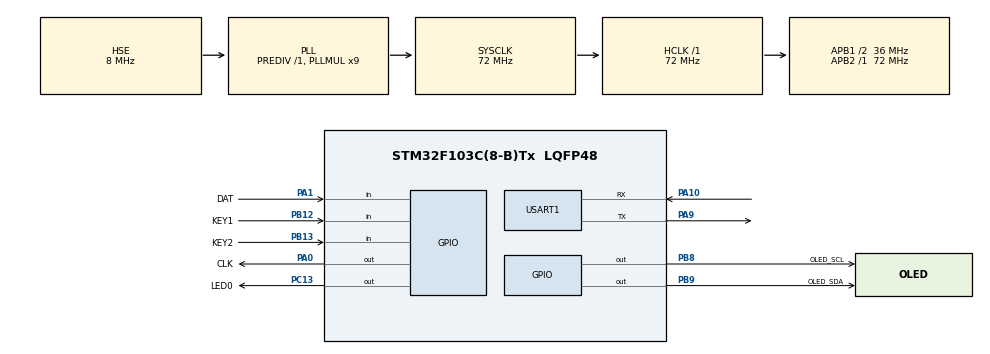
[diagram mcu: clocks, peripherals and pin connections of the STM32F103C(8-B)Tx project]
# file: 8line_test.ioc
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Dma.Request0=USART1_RX
Dma.Request1=USART1_TX
Dma.USART1_RX.0.Direction=DMA_PERIPH_TO_MEMORY
Dma.USART1_RX.0.Instance=DMA1_Channel5
Dma.USART1_RX.0.MemDataAlignment=DMA_MDATAALIGN_BYTE
Dma.USART1_RX.0.MemInc=DMA_MINC_ENABLE
Dma.USART1_RX.0.Mode=DMA_NORMAL
Dma.USART1_RX.0.PeriphDataAlignment=DMA_PDATAALIGN_BYTE
Dma.USART1_RX.0.PeriphInc=DMA_PINC_DISABLE
Dma.USART1_RX.0.Priority=DMA_PRIORITY_LOW
Dma.USART1_TX.1.Direction=DMA_MEMORY_TO_PERIPH
Dma.USART1_TX.1.Instance=DMA1_Channel4
Dma.USART1_TX.1.MemDataAlignment=DMA_MDATAALIGN_BYTE
Dma.USART1_TX.1.MemInc=DMA_MINC_ENABLE
Dma.USART1_TX.1.Mode=DMA_NORMAL
Dma.USART1_TX.1.PeriphDataAlignment=DMA_PDATAALIGN_BYTE
Dma.USART1_TX.1.PeriphInc=DMA_PINC_DISABLE
Dma.USART1_TX.1.Priority=DMA_PRIORITY_LOW
Mcu.Family=STM32F1
Mcu.Name=STM32F103C(8-B)Tx
Mcu.Package=LQFP48
NVIC.DMA1_Channel4_IRQn=true\:0\:0\:false\:false\:true\:false\:true\:true
NVIC.DMA1_Channel5_IRQn=true\:0\:0\:false\:false\:true\:false\:true\:true
NVIC.PriorityGroup=NVIC_PRIORITYGROUP_2
NVIC.USART1_IRQn=true\:0\:0\:false\:false\:true\:true\:true\:true
PA0-WKUP.GPIO_Label=CLK
PA0-WKUP.Signal=GPIO_Output
PA1.GPIO_Label=DAT
PA1.GPIO_PuPd=GPIO_PULLUP
PA1.Signal=GPIO_Input
PA10.Mode=Asynchronous
PA10.Signal=USART1_RX
PA13.Mode=Serial_Wire
PA13.Signal=SYS_JTMS-SWDIO
PA14.Mode=Serial_Wire
PA14.Signal=SYS_JTCK-SWCLK
PA9.Mode=Asynchronous
PA9.Signal=USART1_TX
PB12.GPIO_Label=KEY1
PB12.GPIO_PuPd=GPIO_PULLUP
PB12.Signal=GPIO_Input
PB13.GPIO_Label=KEY2
PB13.GPIO_PuPd=GPIO_PULLUP
PB13.Signal=GPIO_Input
PB8.GPIO_Label=OLED_SCL
PB8.GPIO_Speed=GPIO_SPEED_FREQ_HIGH
PB8.Signal=GPIO_Output
PB9.GPIO_Label=OLED_SDA
PB9.GPIO_Speed=GPIO_SPEED_FREQ_HIGH
PB9.PinState=GPIO_PIN_RESET
PB9.Signal=GPIO_Output
PC13-TAMPER-RTC.GPIO_Label=LED0
PC13-TAMPER-RTC.Signal=GPIO_Output
PC14-OSC32_IN.Mode=LSE-External-Oscillator
PC14-OSC32_IN.Signal=RCC_OSC32_IN
PC15-OSC32_OUT.Mode=LSE-External-Oscillator
PC15-OSC32_OUT.Signal=RCC_OSC32_OUT
PD0-OSC_IN.Mode=HSE-External-Oscillator
PD0-OSC_IN.Signal=RCC_OSC_IN
PD1-OSC_OUT.Mode=HSE-External-Oscillator
PD1-OSC_OUT.Signal=RCC_OSC_OUT
ProjectManager.HeapSize=0x200
ProjectManager.StackSize=0x400
ProjectManager.TargetToolchain=MDK-ARM V5.32
RCC.AHBFreq_Value=72000000
RCC.APB1CLKDivider=RCC_HCLK_DIV2
RCC.APB1Freq_Value=36000000
RCC.APB1TimFreq_Value=72000000
RCC.APB2Freq_Value=72000000
RCC.APB2TimFreq_Value=72000000
RCC.HCLKFreq_Value=72000000
RCC.PLLMUL=RCC_PLL_MUL9
RCC.PLLSourceVirtual=RCC_PLLSOURCE_HSE
RCC.SYSCLKFreq_VALUE=72000000
RCC.SYSCLKSource=RCC_SYSCLKSOURCE_PLLCLK
RCC.USBFreq_Value=72000000
USART1.VirtualMode=VM_ASYNC
board=custom

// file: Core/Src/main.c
/* USER CODE BEGIN Header */
/**
  ******************************************************************************
  * @file           : main.c
  * @brief          : Main program body
  ******************************************************************************
  * @attention
  *
  * Copyright (c) 2026 STMicroelectronics.
  * All rights reserved.
  *
  * This software is licensed under terms that can be found in the LICENSE file
  * in the root directory of this software component.
  * If no LICENSE file comes with this software, it is provided AS-IS.
  *
  ******************************************************************************
  */
/* USER CODE END Header */
#include "main.h"
#include "dma.h"
#include "usart.h"
#include "gpio.h"

/* USER CODE BEGIN Includes */
#include <stdio.h>
/* USER CODE END Includes */

/* USER CODE BEGIN PD */
#define CLK_PIN   GPIO_PIN_0
#define CLK_PORT  GPIOA
#define DAT_PIN   GPIO_PIN_1
#define DAT_PORT  GPIOA

/* USER CODE END PD */

/* USER CODE BEGIN PV */
uint8_t Digtal = 0;  // �洢8·��������ÿλ����һ·������
/* USER CODE END PV */

void SystemClock_Config(void);

/* USER CODE BEGIN 0 */
static void delay_us(uint32_t us)
{
    // 72MHz主频下，每微秒约72个循环
    // 实际测试调整为 us * 8 约等于1us（因为循环本身也有开销）
    uint32_t count = us * 8;
    for (volatile uint32_t i = 0; i < count; i++);
}

uint8_t Read_Sensor_Data(void)
{
    uint8_t data = 0;
    HAL_GPIO_WritePin(CLK_PORT, CLK_PIN, GPIO_PIN_RESET);
    delay_us(5);
    for (int i = 0; i < 8; i++) {
        HAL_GPIO_WritePin(CLK_PORT, CLK_PIN, GPIO_PIN_SET);
        delay_us(5);
        HAL_GPIO_WritePin(CLK_PORT, CLK_PIN, GPIO_PIN_RESET);
        delay_us(5);
        if (HAL_GPIO_ReadPin(DAT_PORT, DAT_PIN)) data |= (1 << i);
    }
    return data;
}
/* USER CODE END 0 */

int main(void)
{

  /* MCU Configuration--------------------------------------------------------*/

  /* Reset of all peripherals, Initializes the Flash interface and the Systick. */
  HAL_Init();

  /* Configure the system clock */
  SystemClock_Config();

  /* Initialize all configured peripherals */
  MX_GPIO_Init();
  MX_DMA_Init();
  MX_USART1_UART_Init();
  /* USER CODE BEGIN 2 */
	HAL_GPIO_WritePin(CLK_PORT, CLK_PIN, GPIO_PIN_RESET);
	HAL_Delay(100);

	printf("Sensor Test Start...\r\n");
	printf("Format: Digtal = 0xXX (bit7~bit0 , 1=white, 0=black)\r\n");
  /* USER CODE END 2 */

  /* Infinite loop */
  while (1)
  {

    /* USER CODE BEGIN 3 */

		Digtal = Read_Sensor_Data();

    printf("Digtal = 0x%02X", Digtal);

    // �����ӡ8��λ��״̬
    printf(" | ");
    for (int i = 7; i >= 0; i--)
    {
        printf("%d", (Digtal >> i) & 0x01);
    }
    printf(" \r\n");
    HAL_GPIO_TogglePin(GPIOC, GPIO_PIN_13);  // ������������PC13��LED
    HAL_Delay(1000);  // ÿ100ms��ȡһ��
	}
  /* USER CODE END 3 */
}

void SystemClock_Config(void)
{
  RCC_OscInitTypeDef RCC_OscInitStruct = {0};
  RCC_ClkInitTypeDef RCC_ClkInitStruct = {0};

  /** Initializes the RCC Oscillators according to the specified parameters
  * in the RCC_OscInitTypeDef structure.
  */
  RCC_OscInitStruct.OscillatorType = RCC_OSCILLATORTYPE_HSE;
  RCC_OscInitStruct.HSEState = RCC_HSE_ON;
  RCC_OscInitStruct.HSEPredivValue = RCC_HSE_PREDIV_DIV1;
  RCC_OscInitStruct.HSIState = RCC_HSI_ON;
  RCC_OscInitStruct.PLL.PLLState = RCC_PLL_ON;
  RCC_OscInitStruct.PLL.PLLSource = RCC_PLLSOURCE_HSE;
  RCC_OscInitStruct.PLL.PLLMUL = RCC_PLL_MUL9;
  if (HAL_RCC_OscConfig(&RCC_OscInitStruct) != HAL_OK)
  {
    Error_Handler();
  }

  /** Initializes the CPU, AHB and APB buses clocks
  */
  RCC_ClkInitStruct.ClockType = RCC_CLOCKTYPE_HCLK|RCC_CLOCKTYPE_SYSCLK
                              |RCC_CLOCKTYPE_PCLK1|RCC_CLOCKTYPE_PCLK2;
  RCC_ClkInitStruct.SYSCLKSource = RCC_SYSCLKSOURCE_PLLCLK;
  RCC_ClkInitStruct.AHBCLKDivider = RCC_SYSCLK_DIV1;
  RCC_ClkInitStruct.APB1CLKDivider = RCC_HCLK_DIV2;
  RCC_ClkInitStruct.APB2CLKDivider = RCC_HCLK_DIV1;

  if (HAL_RCC_ClockConfig(&RCC_ClkInitStruct, FLASH_LATENCY_2) != HAL_OK)
  {
    Error_Handler();
  }
}

void Error_Handler(void)
{
  __disable_irq();
  while (1)
  {
  }
}
